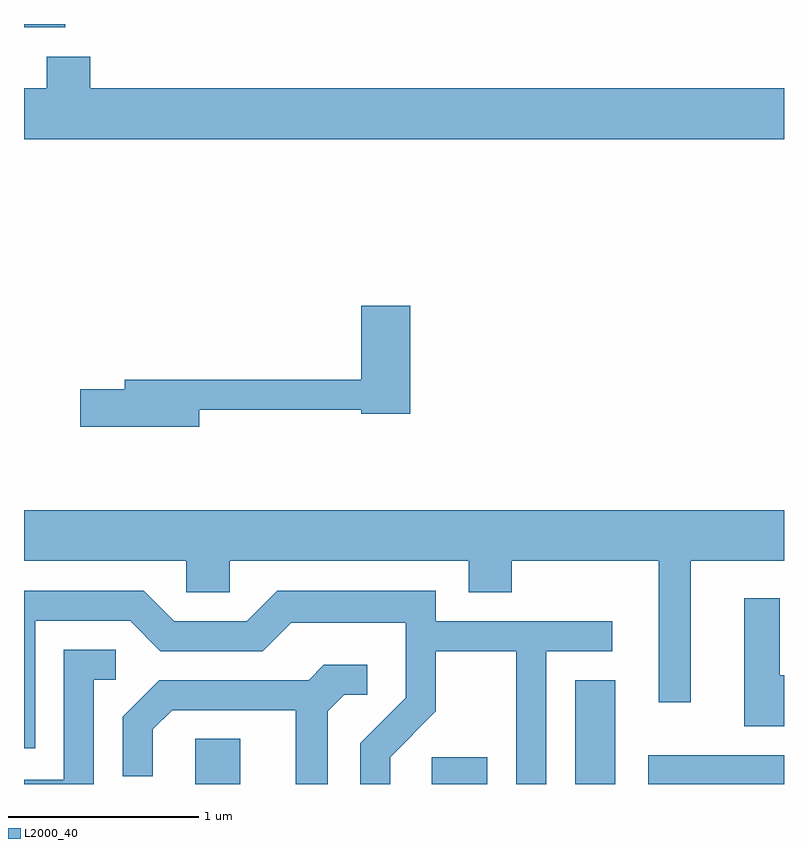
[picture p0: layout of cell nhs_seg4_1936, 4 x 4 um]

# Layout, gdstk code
import gdstk
lib = gdstk.Library(unit=1e-6, precision=1e-09)
def R(c, l, rs):  # rectangles x0, y0, x1, y1
    for r in rs: c.add(gdstk.rectangle(r[:2], r[2:], *l))
def P(c, l, *ps):  # polygons
    for p in ps: c.add(gdstk.Polygon(p, *l))
L2000_40 = (2000, 40)

nhs_seg4_1936 = lib.new_cell('nhs_seg4_1936')
R(nhs_seg4_1936, L2000_40, [(242.511,1317.982,242.749,1318.219), (243.756,1317.982,244.049,1318.124), (244.511,1317.982,244.724,1318.529), (244.896,1317.982,245.611,1318.134), (241.611,1321.966,241.829,1321.982)])
P(nhs_seg4_1936, L2000_40, [(245.611,1321.644),(241.959,1321.644),(241.959,1321.809),(241.731,1321.809),(241.731,1321.644),(241.611,1321.644),(241.611,1321.376),(245.611,1321.376)],
  [(242.534,1319.951),(243.386,1319.951),(243.386,1319.931),(243.644,1319.931),(243.644,1320.499),(243.386,1320.499),(243.386,1320.109),(242.141,1320.109),(242.141,1320.059),(241.906,1320.059),(241.906,1319.861),(242.534,1319.861)],
  [(245.119,1319.156),(245.611,1319.156),(245.611,1319.424),(241.611,1319.424),(241.611,1319.156),(242.466,1319.156),(242.466,1318.991),(242.694,1318.991),(242.694,1319.156),(243.951,1319.156),(243.951,1318.991),(244.179,1318.991),(244.179,1319.156),(244.951,1319.156),(244.951,1318.413),(245.119,1318.413)],
  [(243.539,1318.124),(243.779,1318.364),(243.779,1318.681),(244.201,1318.681),(244.201,1317.982),(244.359,1317.982),(244.359,1318.681),(244.708,1318.681),(244.708,1318.839),(243.779,1318.839),(243.779,1318.999),(242.944,1318.999),(242.784,1318.839),(242.402,1318.839),(242.242,1318.999),(241.611,1318.999),(241.611,1318.171),(241.669,1318.171),(241.669,1318.841),(242.169,1318.841),(242.329,1318.681),(242.867,1318.681),(243.017,1318.831),(243.621,1318.831),(243.621,1318.437),(243.381,1318.197),(243.381,1317.982),(243.539,1317.982)],
  [(245.611,1318.554),(245.589,1318.554),(245.589,1318.959),(245.401,1318.959),(245.401,1318.286),(245.611,1318.286)],
  [(241.979,1318.531),(242.093,1318.531),(242.093,1318.689),(241.821,1318.689),(241.821,1318.004),(241.611,1318.004),(241.611,1317.982),(241.979,1317.982)],
  [(243.209,1318.364),(243.297,1318.451),(243.418,1318.451),(243.418,1318.609),(243.189,1318.609),(243.109,1318.529),(242.324,1318.529),(242.131,1318.337),(242.131,1318.023),(242.289,1318.023),(242.289,1318.269),(242.392,1318.371),(243.041,1318.371),(243.041,1317.982),(243.209,1317.982)])

lib.write_gds('nhs_seg4_1936.gds')
